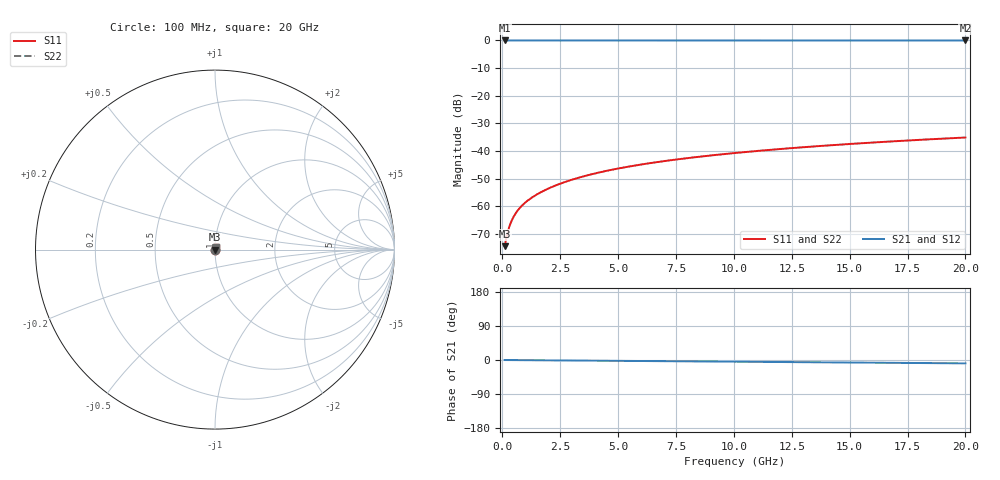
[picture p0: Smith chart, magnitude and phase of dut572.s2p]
! Touchstone file exported from HFSS 2026.1.0
!  File:  C:/ffzhzh/LocalFiles/Ansys_Project_Files/temp_train_TSV_572_1783024780_51716.aedt
!  Generated:  04:42:06 AM Jul  3, 2026
!  Design:  TSV
!  Project:  temp_train_TSV_572_1783024780_51716
! Variables:
!  h_bsmrdl = 2um
!  h_ox = 20um
!  h_rdl = 5um
!  h_sub = 88.31um
!  h_tmrdl = 5um
!  h_tsv = 88.31um
!  h_via = 3um
!  l_bsmrdl = 300um
!  l_sub = 420.24um
!  l_tmrdl = 200um
!  m_sub = 200um
!  pitch = 46.55um
!  r_tsv = 10.12um
!  s_tmrdl = 10um
!  w_bsmrdl = 18um
!  w_sub = 500um
!  w_tmrdl = 12um
!  x_tsv_center1 = 206um
!  x_tsv_center2 = 524um
!  x_tsv_center3 = 736um
!  x_tsv_center4 = 1054um
!  x_tsv_center5 = 1266um
!  x_tsv_center6 = 1584um
# GHz S MA R 50.000000
! Terminal data exported
! Port[1] = TSV1_1_T1
! Port[2] = TSV1_1_T2
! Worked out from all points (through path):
!   200 points, 100 MHz to 20 GHz, reference 50 ohm
!   highest |S21| = 0.00 dB at 100 MHz (marker M1); lowest = 0.0 dB at 20 GHz (marker M2)
!   group delay of S21, straight-line fit = 1.23 ps
!   lowest |S11| = -74.5 dB at 100 MHz (marker M3), VSWR 1.00, Z = 50 + j0.0133 ohm
!   |S11| at or under -10 dB: start of sweep to end of sweep
!   |S22| runs from -74.5 to -35.1 dB; largest |S21 - S12| = 4.9e-15
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0.1  0.000189 44.8  0.9999 -0.0  0.9999 -0.0  0.000189 44.8
! Gamma 0 0 0 0
! Port Impedance 50 0 50 0
0.2  0.0003016 60.9  0.9999 -0.1  0.9999 -0.1  0.0003016 60.9
0.3  0.0004227 66.9  0.9998 -0.1  0.9998 -0.1  0.0004227 66.9
0.4  0.0005423 69.6  0.9998 -0.2  0.9998 -0.2  0.0005423 69.6
0.5  0.0006575 71.0  0.9998 -0.2  0.9998 -0.2  0.0006575 71.0
0.6  0.0007679 71.8  0.9998 -0.3  0.9998 -0.3  0.0007679 71.8
0.7  0.0008739 72.3  0.9997 -0.3  0.9997 -0.3  0.0008739 72.3
0.8  0.000976 72.8  0.9997 -0.4  0.9997 -0.4  0.000976 72.8
1  0.001172 73.6  0.9997 -0.5  0.9997 -0.5  0.001172 73.6
1.4  0.001547 75.0  0.9996 -0.6  0.9996 -0.6  0.001547 75.0
1.7  0.001822 76.0  0.9996 -0.8  0.9996 -0.8  0.001822 76.0
2  0.002097 76.8  0.9995 -0.9  0.9995 -0.9  0.002097 76.8
2.7  0.002735 78.1  0.9995 -1.2  0.9995 -1.2  0.002735 78.1
3.5  0.003462 79.0  0.9994 -1.6  0.9994 -1.6  0.003462 79.0
4.2  0.004091 79.4  0.9994 -1.9  0.9994 -1.9  0.004091 79.4
5  0.004804 79.6  0.9993 -2.2  0.9993 -2.2  0.004804 79.6
6.8  0.006382 79.8  0.9992 -3.0  0.9992 -3.0  0.006383 79.8
8.3  0.007679 79.7  0.9991 -3.7  0.9991 -3.7  0.007679 79.7
10.1  0.009222 79.4  0.999 -4.5  0.999 -4.5  0.009222 79.4
13.4  0.01202 78.7  0.9988 -5.9  0.9988 -5.9  0.01202 78.7
16.7  0.01479 77.8  0.9986 -7.4  0.9986 -7.4  0.01479 77.8
20  0.01751 76.6  0.9985 -8.9  0.9985 -8.9  0.01751 76.6
